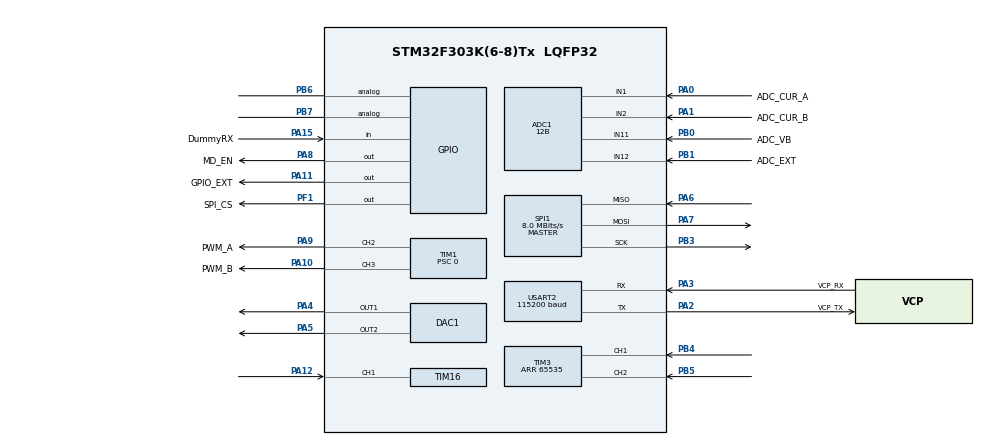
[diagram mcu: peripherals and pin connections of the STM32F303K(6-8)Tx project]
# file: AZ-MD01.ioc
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ADC1.Channel-0\#ChannelRegularConversion=ADC_CHANNEL_1
ADC1.Channel-1\#ChannelRegularConversion=ADC_CHANNEL_2
ADC1.Channel-13\#ChannelRegularConversion=ADC_CHANNEL_11
ADC1.Channel-14\#ChannelRegularConversion=ADC_CHANNEL_12
ADC1.Channel-15\#ChannelRegularConversion=ADC_CHANNEL_VREFINT
ADC1.ClockPrescaler=ADC_CLOCK_SYNC_PCLK_DIV1
ADC1.ContinuousConvMode=DISABLE
ADC1.DMAContinuousRequests=ENABLE
ADC1.DiscontinuousConvMode=DISABLE
ADC1.EOCSelection=ADC_EOC_SINGLE_CONV
ADC1.EnableInjectedConversion=DISABLE
ADC1.ExternalTrigConv=ADC_EXTERNALTRIGCONV_T1_TRGO2
ADC1.ExternalTrigConvEdge=ADC_EXTERNALTRIGCONVEDGE_RISING
ADC1.NbrOfConversion=5
ADC1.NbrOfConversionFlag=1
ADC1.Offset-0\#ChannelRegularConversion=0
ADC1.Offset-1\#ChannelRegularConversion=0
ADC1.Offset-13\#ChannelRegularConversion=0
ADC1.Offset-14\#ChannelRegularConversion=0
ADC1.Offset-15\#ChannelRegularConversion=0
ADC1.OffsetNumber-0\#ChannelRegularConversion=ADC_OFFSET_NONE
ADC1.OffsetNumber-1\#ChannelRegularConversion=ADC_OFFSET_NONE
ADC1.OffsetNumber-13\#ChannelRegularConversion=ADC_OFFSET_NONE
ADC1.OffsetNumber-14\#ChannelRegularConversion=ADC_OFFSET_NONE
ADC1.OffsetNumber-15\#ChannelRegularConversion=ADC_OFFSET_NONE
ADC1.Rank-0\#ChannelRegularConversion=1
ADC1.Rank-1\#ChannelRegularConversion=2
ADC1.Rank-13\#ChannelRegularConversion=3
ADC1.Rank-14\#ChannelRegularConversion=4
ADC1.Rank-15\#ChannelRegularConversion=5
ADC1.Resolution=ADC_RESOLUTION_12B
ADC1.SamplingTime-0\#ChannelRegularConversion=ADC_SAMPLETIME_2CYCLES_5
ADC1.SamplingTime-1\#ChannelRegularConversion=ADC_SAMPLETIME_2CYCLES_5
ADC1.SamplingTime-13\#ChannelRegularConversion=ADC_SAMPLETIME_1CYCLE_5
ADC1.SamplingTime-14\#ChannelRegularConversion=ADC_SAMPLETIME_1CYCLE_5
ADC1.SamplingTime-15\#ChannelRegularConversion=ADC_SAMPLETIME_181CYCLES_5
ADC1.SubFamily=STM32F303x8
ADC1.master=1
Dma.ADC1.0.Direction=DMA_PERIPH_TO_MEMORY
Dma.ADC1.0.Instance=DMA1_Channel1
Dma.ADC1.0.MemDataAlignment=DMA_MDATAALIGN_WORD
Dma.ADC1.0.MemInc=DMA_MINC_ENABLE
Dma.ADC1.0.Mode=DMA_CIRCULAR
Dma.ADC1.0.PeriphDataAlignment=DMA_PDATAALIGN_HALFWORD
Dma.ADC1.0.PeriphInc=DMA_PINC_DISABLE
Dma.ADC1.0.Priority=DMA_PRIORITY_VERY_HIGH
Dma.Request0=ADC1
Mcu.Family=STM32F3
Mcu.Name=STM32F303K(6-8)Tx
Mcu.Package=LQFP32
Mcu.UserConstants=PWM_Period,(2560-1);Control_Period,(4800-1)
NVIC.ADC1_2_IRQn=true\:0\:0\:false\:false\:false\:true
NVIC.DMA1_Channel1_IRQn=true\:0\:0\:false\:false\:true\:false
NVIC.PriorityGroup=NVIC_PRIORITYGROUP_4
NVIC.TIM1_UP_TIM16_IRQn=true\:0\:0\:false\:false\:true\:true
NVIC.TIM6_DAC1_IRQn=true\:0\:0\:false\:false\:true\:true
NVIC.TIM7_DAC2_IRQn=true\:0\:0\:false\:false\:true\:true
NVIC.USART2_IRQn=true\:0\:0\:false\:false\:false\:true
PA0.GPIO_Label=ADC_CUR_A
PA0.Mode=IN1-Single-Ended
PA0.Signal=ADC1_IN1
PA1.GPIO_Label=ADC_CUR_B
PA1.Mode=IN2-Single-Ended
PA1.Signal=ADC1_IN2
PA10.GPIO_Label=PWM_B
PA10.Signal=S_TIM1_CH3
PA11.GPIO_Label=GPIO_EXT
PA11.GPIO_Speed=GPIO_SPEED_FREQ_HIGH
PA11.Signal=GPIO_Output
PA12.Signal=S_TIM16_CH1
PA13.GPIO_Label=SWDIO
PA13.Mode=Serial_Wire
PA13.Signal=SYS_JTMS-SWDIO
PA14.GPIO_Label=SWCLK
PA14.Mode=Serial_Wire
PA14.Signal=SYS_JTCK-SWCLK
PA15.GPIO_Label=DummyRX
PA15.Signal=GPIO_Input
PA2.GPIO_Label=VCP_TX
PA2.Mode=Asynchronous
PA2.Signal=USART2_TX
PA3.GPIO_Label=VCP_RX
PA3.GPIO_PuPd=GPIO_PULLUP
PA3.Mode=Asynchronous
PA3.Signal=USART2_RX
PA4.Signal=COMP_DAC11_group
PA5.Signal=COMP_DAC12_group
PA6.Mode=Full_Duplex_Master
PA6.Signal=SPI1_MISO
PA7.Mode=Full_Duplex_Master
PA7.Signal=SPI1_MOSI
PA8.GPIO_Label=MD_EN
PA8.GPIO_PuPd=GPIO_NOPULL
PA8.PinState=GPIO_PIN_RESET
PA8.Signal=GPIO_Output
PA9.GPIO_Label=PWM_A
PA9.Signal=S_TIM1_CH2
PB0.GPIO_Label=ADC_VB
PB0.Mode=IN11-Single-Ended
PB0.Signal=ADC1_IN11
PB1.GPIO_Label=ADC_EXT
PB1.Mode=IN12-Single-Ended
PB1.Signal=ADC1_IN12
PB3.Mode=Full_Duplex_Master
PB3.Signal=SPI1_SCK
PB4.Signal=S_TIM3_CH1
PB5.Signal=S_TIM3_CH2
PB6.Signal=GPIO_Analog
PB7.Signal=GPIO_Analog
PF1\ /\ OSC_OUT.GPIO_Label=SPI_CS
PF1\ /\ OSC_OUT.GPIO_PuPd=GPIO_PULLDOWN
PF1\ /\ OSC_OUT.GPIO_Speed=GPIO_SPEED_FREQ_HIGH
PF1\ /\ OSC_OUT.Signal=GPIO_Output
ProjectManager.HeapSize=0x200
ProjectManager.StackSize=0x400
ProjectManager.TargetToolchain=TrueSTUDIO
RCC.AHBFreq_Value=64000000
RCC.APB1CLKDivider=RCC_HCLK_DIV2
RCC.APB1Freq_Value=32000000
RCC.APB1TimFreq_Value=64000000
RCC.APB2CLKDivider=RCC_HCLK_DIV2
RCC.APB2Freq_Value=32000000
RCC.APB2TimFreq_Value=64000000
RCC.CortexFreq_Value=64000000
RCC.HCLKFreq_Value=64000000
RCC.HSE_VALUE=8000000
RCC.HSI_VALUE=8000000
RCC.PLLMUL=RCC_PLL_MUL16
RCC.SYSCLKFreq_VALUE=64000000
RCC.SYSCLKSourceVirtual=RCC_SYSCLKSOURCE_PLLCLK
RCC.TIM1Selection=RCC_TIM1CLK_PLLCLK
SH.COMP_DAC11_group.0=DAC1_OUT1,DAC_OUT1
SH.COMP_DAC12_group.0=DAC1_OUT2,DAC_OUT2
SH.S_TIM16_CH1.0=TIM16_CH1,Input_Capture1_from_TI1
SH.S_TIM1_CH2.0=TIM1_CH2,PWM Generation2 CH2
SH.S_TIM1_CH3.0=TIM1_CH3,PWM Generation3 CH3
SH.S_TIM3_CH1.0=TIM3_CH1,Encoder_Interface
SH.S_TIM3_CH2.0=TIM3_CH2,Encoder_Interface
SPI1.BaudRatePrescaler=SPI_BAUDRATEPRESCALER_4
SPI1.CalculateBaudRate=8.0 MBits/s
SPI1.Direction=SPI_DIRECTION_2LINES
SPI1.Mode=SPI_MODE_MASTER
SPI1.VirtualType=VM_MASTER
TIM1.AutoReloadPreload=TIM_AUTORELOAD_PRELOAD_ENABLE
TIM1.Channel-PWM\ Generation2\ CH2=TIM_CHANNEL_2
TIM1.Channel-PWM\ Generation3\ CH3=TIM_CHANNEL_3
TIM1.Channel-PWM\ Generation5\ No\ Output=TIM_CHANNEL_5
TIM1.Channel-PWM\ Generation6\ No\ Output=TIM_CHANNEL_6
TIM1.OCFastMode_PWM-PWM\ Generation2\ CH2=TIM_OCFAST_ENABLE
TIM1.OCFastMode_PWM-PWM\ Generation3\ CH3=TIM_OCFAST_ENABLE
TIM1.OCFastMode_PWM-PWM\ Generation5\ No\ Output=TIM_OCFAST_ENABLE
TIM1.OCFastMode_PWM-PWM\ Generation6\ No\ Output=TIM_OCFAST_ENABLE
TIM1.OCIdleState_5=TIM_OCIDLESTATE_RESET
TIM1.OCIdleState_6=TIM_OCIDLESTATE_RESET
TIM1.OCMode_PWM-PWM\ Generation5\ No\ Output=TIM_OCMODE_PWM2
TIM1.OCMode_PWM-PWM\ Generation6\ No\ Output=TIM_OCMODE_PWM2
TIM1.OCPolarity_2=TIM_OCPOLARITY_HIGH
TIM1.OCPolarity_3=TIM_OCPOLARITY_LOW
TIM1.OCPolarity_5=TIM_OCPOLARITY_LOW
TIM1.OCPolarity_6=TIM_OCPOLARITY_LOW
TIM1.Period=PWM_Period
TIM1.Prescaler=0
TIM1.TIM_MasterOutputTrigger2=TIM_TRGO2_OC5REF_RISING_OC6REF_RISING
TIM1.TIM_MasterSlaveMode=TIM_MASTERSLAVEMODE_DISABLE
TIM16.Channel=TIM_CHANNEL_1
TIM16.ICFilter_CH1=15
TIM16.ICPolarity_CH1=TIM_INPUTCHANNELPOLARITY_BOTHEDGE
TIM16.Prescaler=64
TIM3.CounterMode=TIM_COUNTERMODE_UP
TIM3.EncoderMode=TIM_ENCODERMODE_TI12
TIM3.IC2Polarity=TIM_ICPOLARITY_RISING
TIM3.Period=65535
TIM6.AutoReloadPreload=TIM_AUTORELOAD_PRELOAD_ENABLE
TIM6.Period=Control_Period
TIM6.Prescaler=0
USART2.BaudRate=115200
USART2.OverSampling=UART_OVERSAMPLING_8
USART2.VirtualMode-Asynchronous=VM_ASYNC
VP_ADC1_Vref_Input.Mode=IN-Vrefint
VP_TIM16_VS_ClockSourceINT.Mode=Enable_Timer
VP_TIM1_VS_ClockSourceINT.Mode=Internal
VP_TIM1_VS_no_output5.Mode=PWM Generation5 No Output
VP_TIM1_VS_no_output6.Mode=PWM Generation6 No Output
VP_TIM6_VS_ClockSourceINT.Mode=Enable_Timer
VP_TIM7_VS_ClockSourceINT.Mode=Enable_Timer
board=NUCLEO-F303K8

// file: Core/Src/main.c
/* USER CODE BEGIN Header */
/**
  ******************************************************************************
  * @file           : main.c
  * @brief          : Main program body
  ******************************************************************************
  ** This notice applies to any and all portions of this file
  * that are not between comment pairs USER CODE BEGIN and
  * USER CODE END. Other portions of this file, whether
  * inserted by the user or by software development tools
  * are owned by their respective copyright owners.
  *
  * COPYRIGHT(c) 2018 STMicroelectronics
  *
  * Redistribution and use in source and binary forms, with or without modification,
  * are permitted provided that the following conditions are met:
  *   1. Redistributions of source code must retain the above copyright notice,
  *      this list of conditions and the following disclaimer.
  *   2. Redistributions in binary form must reproduce the above copyright notice,
  *      this list of conditions and the following disclaimer in the documentation
  *      and/or other materials provided with the distribution.
  *   3. Neither the name of STMicroelectronics nor the names of its contributors
  *      may be used to endorse or promote products derived from this software
  *      without specific prior written permission.
  *
  * THIS SOFTWARE IS PROVIDED BY THE COPYRIGHT HOLDERS AND CONTRIBUTORS "AS IS"
  * AND ANY EXPRESS OR IMPLIED WARRANTIES, INCLUDING, BUT NOT LIMITED TO, THE
  * IMPLIED WARRANTIES OF MERCHANTABILITY AND FITNESS FOR A PARTICULAR PURPOSE ARE
  * DISCLAIMED. IN NO EVENT SHALL THE COPYRIGHT HOLDER OR CONTRIBUTORS BE LIABLE
  * FOR ANY DIRECT, INDIRECT, INCIDENTAL, SPECIAL, EXEMPLARY, OR CONSEQUENTIAL
  * DAMAGES (INCLUDING, BUT NOT LIMITED TO, PROCUREMENT OF SUBSTITUTE GOODS OR
  * SERVICES; LOSS OF USE, DATA, OR PROFITS; OR BUSINESS INTERRUPTION) HOWEVER
  * CAUSED AND ON ANY THEORY OF LIABILITY, WHETHER IN CONTRACT, STRICT LIABILITY,
  * OR TORT (INCLUDING NEGLIGENCE OR OTHERWISE) ARISING IN ANY WAY OUT OF THE USE
  * OF THIS SOFTWARE, EVEN IF ADVISED OF THE POSSIBILITY OF SUCH DAMAGE.
  *
  ******************************************************************************
  */
/* USER CODE END Header */

#include "main.h"
#include "adc.h"
#include "dac.h"
#include "dma.h"
#include "spi.h"
#include "tim.h"
#include "usart.h"
#include "gpio.h"

/* USER CODE BEGIN Includes */
#include <math.h>
#include "pwm.h"
#include "encoder.h"
#include "uart_util.h"
#include "xprintf.h"
#include "control.h"
/* USER CODE END Includes */

/* USER CODE BEGIN PV */
/* Private variables ---------------------------------------------------------*/
volatile int64_t tick;
const int64_t INTERVAL = 100;
const int32_t ADC_CAL_DURATION = 50;
/* USER CODE END PV */

void SystemClock_Config(void);
/* USER CODE BEGIN PFP */
/* Private function prototypes -----------------------------------------------*/
void tick_inc(){
	tick++;
}

int64_t tick_get(){
	return tick;
}

bool cmd_duty_set_func(int32_t argc,int32_t* argv){
	if(argc != 1){
		return false;
	}
	pwm_set_duty(argv[0]);
	return true;
}
UU_ConsoleCommand cmd_duty_set = {
		"DUTY",
		cmd_duty_set_func,
		"DUTY [duty]\r\nSet PWM duty. "
};

bool cmd_set_cur_func(int32_t argc, int32_t* argv){
	if(argc != 1){
		return false;
	}
	ctrl_set_cur((float)argv[0] / 1000.);
	return true;
}
UU_ConsoleCommand cmd_set_cur = {
		"SETCUR",
		cmd_set_cur_func,
		"SETCUR [current in mA]\r\nSet target current in current control mode."
};

bool cmd_set_cur_gain_func(int32_t argc, int32_t* argv){
	if(argc != 3){
		return false;
	}
	ctrl_set_cur_gain((float)argv[0] / 1000., (float)argv[1] / 1000000., (float)argv[2] / 1000.);
	return true;
}
UU_ConsoleCommand cmd_set_cur_gain = {
		"CURGAIN",
		cmd_set_cur_gain_func,
		"CURGAIN [kp] [ti] [td]\r\nAll value are divide with 1000."
};

bool cmd_set_vel_func(int32_t argc, int32_t* argv){
	ctrl_set_vel((float)argv[0] / 1000.);
	return true;
}
UU_ConsoleCommand cmd_set_vel = {
		"SETVEL",
		cmd_set_vel_func,
		"SETVEL [velocity in mm/s]\r\nSet target velocity in velocity control mode."
};

bool cmd_set_vel_gain_func(int32_t argc, int32_t* argv){
	if(argc != 3){
		return false;
	}
	ctrl_set_vel_gain((float)argv[0] / 1000., (float)argv[1] / 1000000., (float)argv[2] / 1000.);
	return true;
}
UU_ConsoleCommand cmd_set_vel_gain = {
		"VELGAIN",
		cmd_set_vel_gain_func,
		"VELGAIN [kp] [ti] [td]\r\nAll value are divide with 1000."
};

bool cmd_set_pos_func(int32_t argc, int32_t* argv){
	ctrl_set_pos((float)argv[0] / 1000.);
	return true;
}
UU_ConsoleCommand cmd_set_pos = {
		"SETPOS",
		cmd_set_pos_func,
		"SETPOS [position in mm]\r\nSet target position in position control mode."
};

bool cmd_set_pos_gain_func(int32_t argc, int32_t* argv){
	if(argc != 3){
		return false;
	}
	ctrl_set_pos_gain((float)argv[0] / 1000., (float)argv[1] / 1000000., (float)argv[2] / 1000.);
	return true;
}
UU_ConsoleCommand cmd_set_pos_gain = {
		"POSGAIN",
		cmd_set_pos_gain_func,
		"POSGAIN [kp] [ti] [td]\r\nAll value are divide with 1000000."
};

bool cmd_set_mode_func(int32_t argc, int32_t* argv){
	if(argc != 1){
		return false;
	}
	ctrl_set_mode(argv[0]);
	return true;
}
UU_ConsoleCommand cmd_set_mode = {
		"MODE",
		cmd_set_mode_func,
		"MODE [mode number]\r\n0 : DUTY\r\n1 : CURRENT\r\n2 : SPEED with BEMF\r\n3 : SPEED with ENCODER"
};

bool cmd_set_cur_lpf_func(int32_t argc, int32_t* argv){
	if(argc != 1){
		return false;
	}
	ctrl_set_cur_lpf((float)argv[0] / 1000.);
	return true;
}
UU_ConsoleCommand cmd_set_cur_lpf = {
		"CURLPF",
		cmd_set_cur_lpf_func,
		"CURLPF [fo]\r\n0 : Relative frequency timed by 1000"
};

bool cmd_set_vel_lpf_func(int32_t argc, int32_t* argv){
	if(argc != 1){
		return false;
	}
	ctrl_set_vel_lpf((float)argv[0] / 1000.);
	return true;
}
UU_ConsoleCommand cmd_set_vel_lpf = {
		"VELLPF",
		cmd_set_vel_lpf_func,
		"VELLPF [fo]\r\n0 : Relative frequency timed by 1000"
};

bool cmd_set_pos_lpf_func(int32_t argc, int32_t* argv){
	if(argc != 1){
		return false;
	}
	ctrl_set_pos_lpf((float)argv[0] / 1000.);
	return true;
}
UU_ConsoleCommand cmd_set_pos_lpf = {
		"POSLPF",
		cmd_set_pos_lpf_func,
		"POSLPF [fo]\r\n0 : Relative frequency timed by 1000"
};
/* USER CODE END PFP */

int main(void)
{
  /* USER CODE BEGIN 1 */
	int64_t tick_last = 0;
	int64_t enc_total;
	int32_t vel;
	uint32_t enc_prev = 0;
	uint32_t enc;
	float cur=0.;
	float cur_prev=0.;
	float cur_fo=0.2;
	float pos = 0.05;
	float pos_freq = 1.0;
  /* USER CODE END 1 */

  /* MCU Configuration--------------------------------------------------------*/

  /* Reset of all peripherals, Initializes the Flash interface and the Systick. */

  LL_APB2_GRP1_EnableClock(LL_APB2_GRP1_PERIPH_SYSCFG);
  LL_APB1_GRP1_EnableClock(LL_APB1_GRP1_PERIPH_PWR);

  NVIC_SetPriorityGrouping(NVIC_PRIORITYGROUP_4);

  /* System interrupt init*/
  /* SysTick_IRQn interrupt configuration */
  NVIC_SetPriority(SysTick_IRQn, NVIC_EncodePriority(NVIC_GetPriorityGrouping(),1, 0));

  /* Configure the system clock */
  SystemClock_Config();

  /* Initialize all configured peripherals */
  MX_GPIO_Init();
  MX_DMA_Init();
  MX_USART2_UART_Init();
  MX_TIM1_Init();
  MX_SPI1_Init();
  MX_ADC1_Init();
  MX_DAC1_Init();
  MX_TIM3_Init();
  MX_TIM16_Init();
  MX_TIM6_Init();
  MX_TIM7_Init();
  /* USER CODE BEGIN 2 */
  LL_SYSTICK_EnableIT();

  uu_init();
  uu_push_command(&cmd_duty_set);
  uu_push_command(&cmd_set_cur);
  uu_push_command(&cmd_set_cur_gain);
  uu_push_command(&cmd_set_vel);
  uu_push_command(&cmd_set_vel_gain);
  uu_push_command(&cmd_set_pos);
  uu_push_command(&cmd_set_pos_gain);
  uu_push_command(&cmd_set_mode);
  uu_push_command(&cmd_set_cur_lpf);
  uu_push_command(&cmd_set_vel_lpf);
  uu_push_command(&cmd_set_pos_lpf);
  xputs("AZ-MD01\r\n");

  adc_init();

  pwm_init();
  pwm_set_duty(0.);

  enc_init();
  dac_init();
  pwm_md_enable();

  {
	  pwm_set_duty(0.);
	  xputs("Start ADC calibration...");
	  int32_t adc_cal_cnt = 0;
	  int32_t cz_a, cz_b, cz_a_prev, cz_b_prev;
	  while(true){
		  adc_cur_cal_proc();
		  cz_a = adc_get_cur_zero(0);
		  cz_b = adc_get_cur_zero(1);
		  if(abs(cz_a - cz_a_prev) < 1 && abs(cz_b - cz_b_prev) < 1){
			  adc_cal_cnt++;
			  if(adc_cal_cnt > 10){
				  break;
			  }
		  }else{
			  adc_cal_cnt = 0;
		  }
		  cz_a_prev = cz_a;
		  cz_b_prev = cz_b;
		  LL_mDelay(1);
	  }
	  xputs("Done!!!\r\n");
	  xprintf("Current zero value : %d %d\r\n", adc_get_cur_zero(0), adc_get_cur_zero(1));
  }

  ctrl_init();

  //ctrl_set_mode(CTRL_POS);
  //ctrl_set_pos(pos);
  /* USER CODE END 2 */

  /* Infinite loop */
  while (1)
  {

    /* USER CODE BEGIN 3 */
	  if(tick >= tick_last + INTERVAL){
		  tick_last += INTERVAL;

		  enc = enc_get();
		  vel = enc - enc_prev;
		  enc_prev = enc;
		  enc_total += vel;
/*
		  xprintf("ADC :\r\n");
		  for(volatile int i = 0; i < ADC_BUFF_LEN; i++){
			  xprintf("\t%02d : %4d\r\n", i, adc_get(i));
		  }
		  xputs("\r\n");
*/
		  xprintf("V batt  : %5d\r\n", (int32_t)(adc_get_vbatt() * 1000.));
		  cur = cur_prev * (1. - cur_fo) + adc_get_cur_ave() * cur_fo;
		  cur_prev = cur;
		  xprintf("Current : %5d %5d\r\n", (int32_t)(adc_get_cur() * 1000.), (int32_t)(cur * 1000.));
		  xprintf("Vel : %5d\r\n", (int32_t)(ctrl_get_vel() * 1000.));
		  /*
		  xprintf("ADC EXT : %5d %5d\r\n", (int32_t)(adc_get_ext() * 1000.), (int32_t)(adc_get_ext_rate() * 100.));
		  xprintf("Vel : %5d\r\n", (int32_t)(ctrl_get_vel() * 1000.));
		  xprintf("Pos : %5d\r\n", (int32_t)(ctrl_get_pos() * 1000.));
		  */
	  }
	  uu_proc_command();
	  //pos = sin(pos_freq * 2.* M_PI * tick / 1000.) * 0.04 + 0.05;
	  //ctrl_set_pos(pos);
  }
  /* USER CODE END 3 */
}

void SystemClock_Config(void)
{
  LL_FLASH_SetLatency(LL_FLASH_LATENCY_2);

   if(LL_FLASH_GetLatency() != LL_FLASH_LATENCY_2)
  {
  Error_Handler();
  }
  LL_RCC_HSI_Enable();

   /* Wait till HSI is ready */
  while(LL_RCC_HSI_IsReady() != 1)
  {

  }
  LL_RCC_HSI_SetCalibTrimming(16);
  LL_RCC_PLL_ConfigDomain_SYS(LL_RCC_PLLSOURCE_HSI_DIV_2, LL_RCC_PLL_MUL_16);
  LL_RCC_PLL_Enable();

   /* Wait till PLL is ready */
  while(LL_RCC_PLL_IsReady() != 1)
  {

  }
  LL_RCC_SetAHBPrescaler(LL_RCC_SYSCLK_DIV_1);
  LL_RCC_SetAPB1Prescaler(LL_RCC_APB1_DIV_2);
  LL_RCC_SetAPB2Prescaler(LL_RCC_APB1_DIV_2);
  LL_RCC_SetSysClkSource(LL_RCC_SYS_CLKSOURCE_PLL);

   /* Wait till System clock is ready */
  while(LL_RCC_GetSysClkSource() != LL_RCC_SYS_CLKSOURCE_STATUS_PLL)
  {

  }
  LL_Init1msTick(64000000);
  LL_SYSTICK_SetClkSource(LL_SYSTICK_CLKSOURCE_HCLK);
  LL_SetSystemCoreClock(64000000);
  LL_RCC_SetTIMClockSource(LL_RCC_TIM1_CLKSOURCE_PLL);
}

void Error_Handler(void)
{
  while(1)
  {
  }
}

/************************ (C) COPYRIGHT STMicroelectronics *****END OF FILE****/
